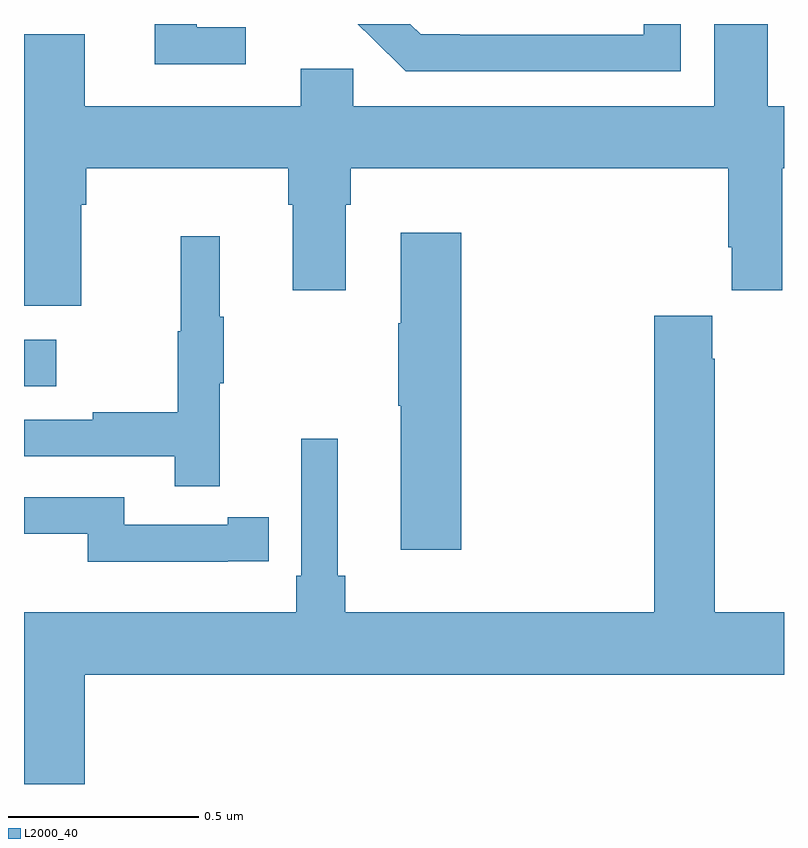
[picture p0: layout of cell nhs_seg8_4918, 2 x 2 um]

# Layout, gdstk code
import gdstk
lib = gdstk.Library(unit=1e-6, precision=1e-09)
def R(c, l, rs):  # rectangles x0, y0, x1, y1
    for r in rs: c.add(gdstk.rectangle(r[:2], r[2:], *l))
def P(c, l, *ps):  # polygons
    for p in ps: c.add(gdstk.Polygon(p, *l))
L2000_40 = (2000, 40)

nhs_seg8_4918 = lib.new_cell('nhs_seg8_4918')
R(nhs_seg8_4918, L2000_40, [(177,1095.947,177.085,1096.069)])
P(nhs_seg8_4918, L2000_40, [(177.151,1096.424),(177.164,1096.424),(177.164,1096.52),(177.695,1096.52),(177.695,1096.424),(177.707,1096.424),(177.707,1096.2),(177.847,1096.2),(177.847,1096.424),(177.86,1096.424),(177.86,1096.52),(178.853,1096.52),(178.853,1096.312),(178.862,1096.312),(178.862,1096.2),(178.996,1096.2),(178.996,1096.52),(179,1096.52),(179,1096.684),(178.957,1096.684),(178.957,1096.9),(178.817,1096.9),(178.817,1096.684),(177.867,1096.684),(177.867,1096.782),(177.728,1096.782),(177.728,1096.684),(177.16,1096.684),(177.16,1096.873),(177,1096.873),(177,1096.158),(177.151,1096.158)],
  [(178.728,1096.9),(178.631,1096.9),(178.631,1096.872),(178.147,1096.872),(178.147,1096.873),(178.044,1096.873),(178.017,1096.9),(177.878,1096.9),(177.912,1096.866),(177.913,1096.867),(178.004,1096.776),(178.728,1096.776)],
  [(177.583,1096.891),(177.454,1096.891),(177.454,1096.9),(177.344,1096.9),(177.344,1096.794),(177.583,1096.794)],
  [(178.151,1096.351),(177.992,1096.351),(177.992,1096.112),(177.985,1096.112),(177.985,1095.895),(177.992,1095.895),(177.992,1095.516),(178.151,1095.516)],
  [(177.515,1095.955),(177.526,1095.955),(177.526,1096.129),(177.515,1096.129),(177.515,1096.342),(177.412,1096.342),(177.412,1096.092),(177.405,1096.092),(177.405,1095.878),(177.181,1095.878),(177.181,1095.858),(177,1095.858),(177,1095.762),(177.397,1095.762),(177.397,1095.684),(177.515,1095.684)],
  [(177.536,1095.486),(177.644,1095.486),(177.644,1095.602),(177.536,1095.602),(177.536,1095.582),(177.264,1095.582),(177.264,1095.654),(177,1095.654),(177,1095.558),(177.168,1095.558),(177.168,1095.485),(177.536,1095.485)],
  [(178.811,1096.019),(178.811,1096.132),(178.658,1096.132),(178.658,1095.352),(177.845,1095.352),(177.845,1095.448),(177.826,1095.448),(177.826,1095.808),(177.729,1095.808),(177.729,1095.448),(177.716,1095.448),(177.716,1095.352),(177,1095.352),(177,1094.9),(177.16,1094.9),(177.16,1095.188),(179,1095.188),(179,1095.352),(178.818,1095.352),(178.818,1096.019)])

lib.write_gds('nhs_seg8_4918.gds')
